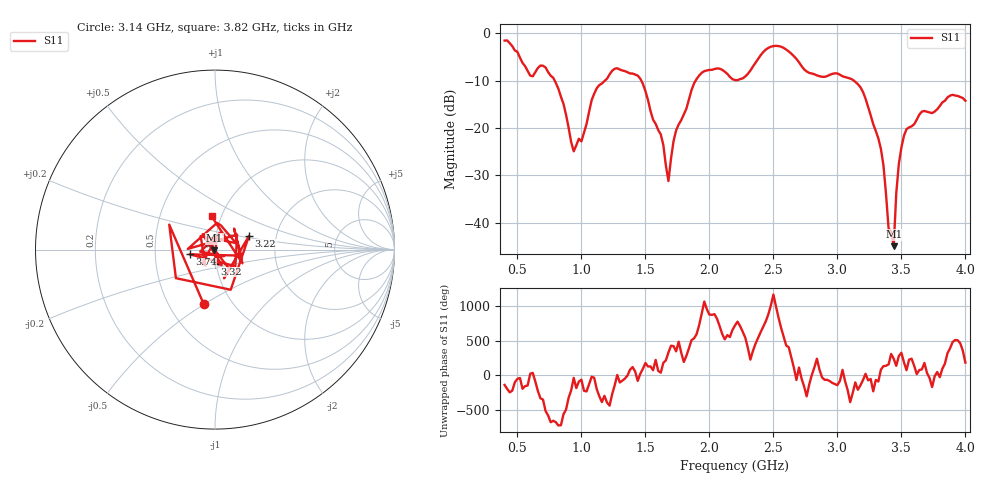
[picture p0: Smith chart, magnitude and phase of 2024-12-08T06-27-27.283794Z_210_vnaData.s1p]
!Created with skrf (http://scikit-rf.org).
# Hz S RI R 50.0
!freq ReS11 ImS11
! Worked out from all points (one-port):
!   181 points, 400 MHz to 4 GHz, reference 50 ohm
!   lowest |S11| = -44.9 dB at 3.44 GHz (marker M1), VSWR 1.01, Z = 49.7 - j0.485 ohm
!   |S11| at or under -10 dB: 791.5 MHz to 1.183 GHz (391.9 MHz wide, 39.7 % of centre); 1.468 GHz to 1.892 GHz (424.2 MHz wide, 25.2 % of centre); 3.129 GHz to end of sweep
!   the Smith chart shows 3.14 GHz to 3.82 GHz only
!   S11 on the Smith chart (normalised r, x): 3.14 GHz: 0.74, -0.49; 3.22 GHz: 1.45, +0.23; 3.32 GHz: 0.99, -0.15; 3.74 GHz: 0.75, -0.04; 3.82 GHz: 0.90, +0.35
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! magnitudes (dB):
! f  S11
! 400 MHz  -1.5
! 600 MHz  -8.9
! 720 MHz  -7.2
! 860 MHz  -14.9
! 940 MHz  -24.9
! 1.12 GHz  -11.6
! 1.3 GHz  -7.6
! 1.48 GHz  -10.6
! 1.62 GHz  -21.3
! 1.68 GHz  -31.2
! 1.76 GHz  -19.2
! 1.94 GHz  -8.3
! 2.2 GHz  -9.9
! 2.48 GHz  -2.8
! 2.66 GHz  -4.8
! 3.1 GHz  -9.5
! 3.14 GHz  -10.2
! 3.22 GHz  -13.8
! 3.32 GHz  -22.2
! 3.36 GHz  -27.9
! 3.4 GHz  -41.2
! 3.44 GHz  -44.9
! 3.46 GHz  -33.7
! 3.48 GHz  -27.6
! 3.56 GHz  -19.8
! 3.74 GHz  -16.8
! 3.82 GHz  -14.6
! 4 GHz  -14.2
